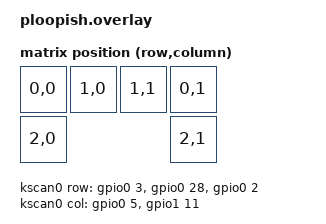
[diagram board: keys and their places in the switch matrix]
#include <dt-bindings/zmk/matrix_transform.h> // Put this with the other includes at the top of your overlay
#include <input/processors.dtsi>
#include <dt-bindings/zmk/input_transform.h>
//#include <interfaces/hid-trackball.dtsi>


/ {  
kscan0: kscan0 {
        compatible = "zmk,kscan-gpio-matrix";
        diode-direction = "row2col";
        wakeup-source;

        row-gpios
            = <&gpio0 3 GPIO_ACTIVE_HIGH>
            ,<&gpio0 28 GPIO_ACTIVE_HIGH>
            ,<&gpio0 2 GPIO_ACTIVE_HIGH>
            ;

        col-gpios
            =<&gpio0 5 (GPIO_ACTIVE_HIGH | GPIO_PULL_DOWN)>
            ,<&gpio1 11 (GPIO_ACTIVE_HIGH | GPIO_PULL_DOWN)>
            ;
    };
};

/ {
    default_transform: keymap_transform0 {
        compatible = "zmk,matrix-transform";
        columns = <2>; // Length of the "col-gpios" array
        rows = <3>; // Length of the "row-gpios" array
        map = <
                RC(0,0) RC(1,0) RC(1,1) RC(0,1)
                RC(2,0)                 RC(2,1)
        >;
    };
};

/ {
    physical_layout0: physical_layout_0 { // First physical layout, use different naming for other layouts
        compatible = "zmk,physical-layout";
        display-name = "Default Layout";
        kscan = <&kscan0>; // Label of the kscan node, optional if all layouts use the same
        transform = <&default_transform>; // Label of the matrix transform for this layout
    };
};

/ {
    chosen {
        zmk,physical-layout = &physical_layout0;
        // Other chosen items
    };
};

&pinctrl {
    spi0_default: spi0_default {
        group1 {
            psels = <NRF_PSEL(SPIM_SCK, 1, 13)>,
                <NRF_PSEL(SPIM_MOSI, 1, 15)>,
                <NRF_PSEL(SPIM_MISO, 1, 14)>;
        };
    };

    spi0_sleep: spi0_sleep {
        group1 {
            psels = <NRF_PSEL(SPIM_SCK, 1, 13)>,
                <NRF_PSEL(SPIM_MOSI, 1, 15)>,
                <NRF_PSEL(SPIM_MISO, 1, 14)>;
            low-power-enable;
        };
    };
};

&spi0 {
    status = "okay";
    compatible = "nordic,nrf-spim";
    pinctrl-0 = <&spi0_default>;
    pinctrl-1 = <&spi0_sleep>;
    pinctrl-names = "default", "sleep";
    cs-gpios = <&gpio1 12 GPIO_ACTIVE_LOW>;

    trackball: trackball@0 {
        status = "okay";
        compatible = "pixart,pmw3360";
        reg = <0>;
        spi-max-frequency = <2000000>;
        // irq-gpios = <&gpio0 3 (GPIO_ACTIVE_LOW | GPIO_PULL_UP)>;

        /*   optional features   */
        //snipe-layers = <1>;
        //scroll-layers = <2 3>;
        //automouse-layer = <4>;
    };
};

/ {
  trackball_listener {
    compatible = "zmk,input-listener";
    device = <&trackball>;
        input-processors = <
        &zip_xy_transform (INPUT_TRANSFORM_Y_INVERT)
    >;

    scroller {
        layers = <1>;
        input-processors = <&zip_xy_to_scroll_mapper>, <&zip_scroll_scaler 1 10>;
    };
  };
};
